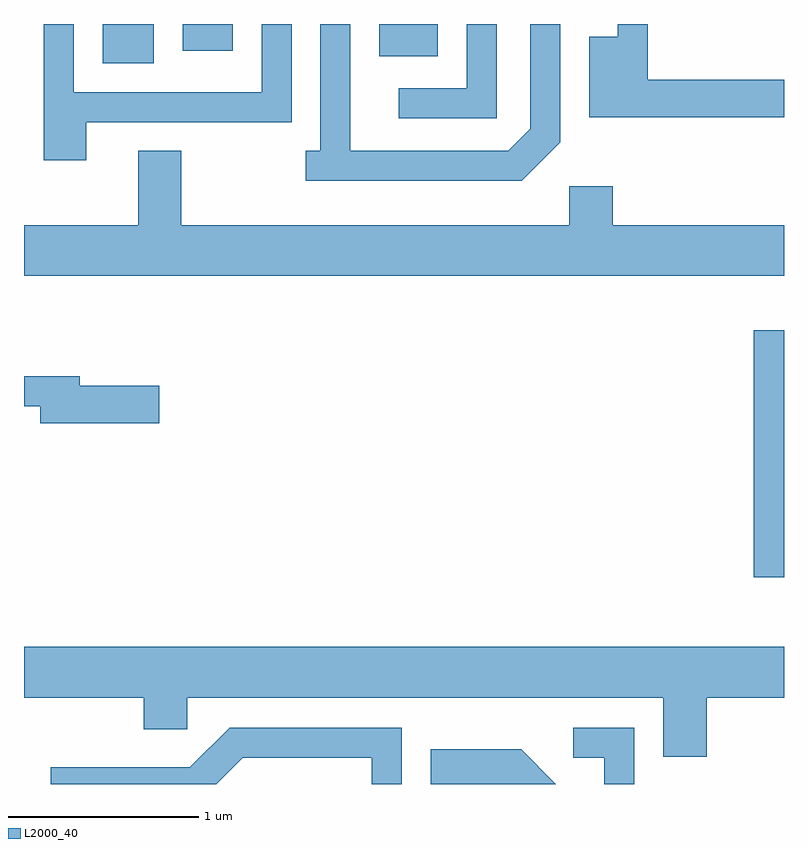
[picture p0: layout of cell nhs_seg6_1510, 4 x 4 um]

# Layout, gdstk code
import gdstk
lib = gdstk.Library(unit=1e-6, precision=1e-09)
def R(c, l, rs):  # rectangles x0, y0, x1, y1
    for r in rs: c.add(gdstk.rectangle(r[:2], r[2:], *l))
def P(c, l, *ps):  # polygons
    for p in ps: c.add(gdstk.Polygon(p, *l))
L2000_40 = (2000, 40)

nhs_seg6_1510 = lib.new_cell('nhs_seg6_1510')
R(nhs_seg6_1510, L2000_40, [(233.451,1637.251,233.611,1638.549), (230.026,1639.956,230.294,1640.162), (231.481,1639.991,231.789,1640.162), (230.446,1640.021,230.709,1640.162)])
P(nhs_seg6_1510, L2000_40, [(232.099,1640.162),(231.941,1640.162),(231.941,1639.824),(231.583,1639.824),(231.583,1639.666),(232.099,1639.666)],
  [(229.939,1639.646),(231.019,1639.646),(231.019,1640.162),(230.861,1640.162),(230.861,1639.804),(229.874,1639.804),(229.874,1640.162),(229.716,1640.162),(229.716,1639.446),(229.939,1639.446)],
  [(233.611,1639.869),(232.894,1639.869),(232.894,1640.162),(232.736,1640.162),(232.736,1640.094),(232.586,1640.094),(232.586,1639.671),(233.611,1639.671)],
  [(232.434,1639.539),(232.434,1640.162),(232.276,1640.162),(232.276,1639.612),(232.159,1639.494),(231.329,1639.494),(231.329,1640.162),(231.171,1640.162),(231.171,1639.494),(231.093,1639.494),(231.093,1639.336),(232.232,1639.336)],
  [(233.611,1639.104),(232.709,1639.104),(232.709,1639.309),(232.481,1639.309),(232.481,1639.104),(230.439,1639.104),(230.439,1639.494),(230.211,1639.494),(230.211,1639.104),(229.611,1639.104),(229.611,1638.836),(233.611,1638.836)],
  [(230.324,1638.259),(229.904,1638.259),(229.904,1638.309),(229.611,1638.309),(229.611,1638.151),(229.696,1638.151),(229.696,1638.061),(230.324,1638.061)],
  [(233.204,1636.616),(233.611,1636.616),(233.611,1636.884),(229.611,1636.884),(229.611,1636.616),(230.241,1636.616),(230.241,1636.451),(230.469,1636.451),(230.469,1636.616),(232.976,1636.616),(232.976,1636.306),(233.204,1636.306)],
  [(230.762,1636.301),(231.441,1636.301),(231.441,1636.162),(231.599,1636.162),(231.599,1636.459),(230.694,1636.459),(230.484,1636.249),(229.751,1636.249),(229.751,1636.162),(230.623,1636.162)],
  [(232.824,1636.459),(232.503,1636.459),(232.503,1636.301),(232.666,1636.301),(232.666,1636.162),(232.824,1636.162)],
  [(232.227,1636.344),(231.751,1636.344),(231.751,1636.162),(232.409,1636.162)])

lib.write_gds('nhs_seg6_1510.gds')
